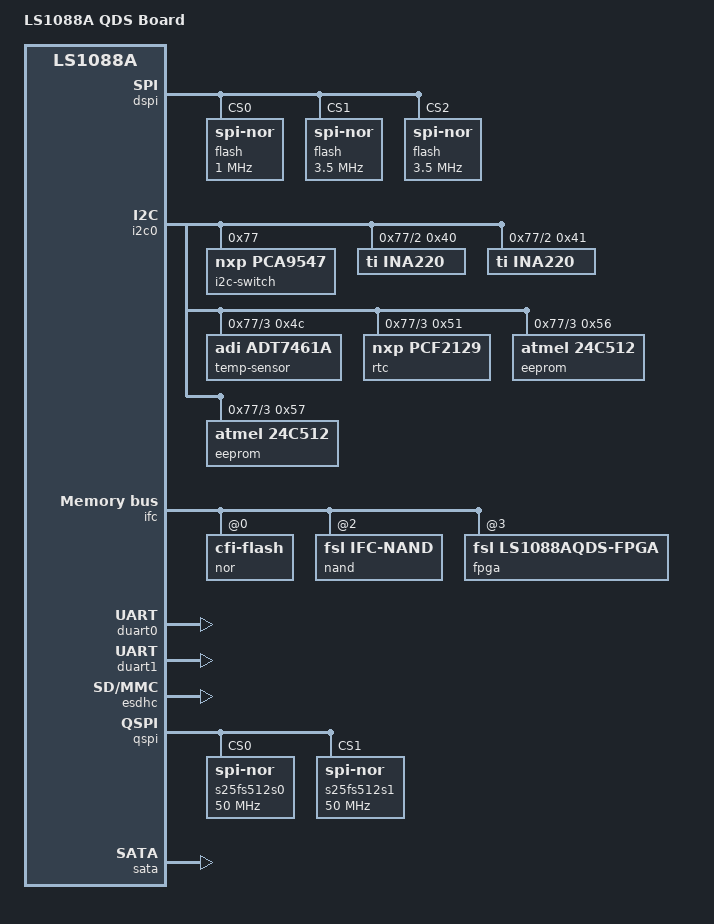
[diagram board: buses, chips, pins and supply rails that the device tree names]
// SPDX-License-Identifier: (GPL-2.0+ OR MIT)
/*
 * Device Tree file for NXP LS1088A QDS Board.
 *
 * Copyright 2017 NXP
 *
 * Harninder Rai <harninder.rai@nxp.com>
 *
 */

/dts-v1/;

#include "fsl-ls1088a.dtsi"

/ {
	model = "LS1088A QDS Board";
	compatible = "fsl,ls1088a-qds", "fsl,ls1088a";
};

&dspi {
	bus-num = <0>;
	status = "okay";

	flash@0 {
		#address-cells = <1>;
		#size-cells = <1>;
		compatible = "jedec,spi-nor";
		reg = <0>;
		spi-max-frequency = <1000000>;
	};

	flash@1 {
		#address-cells = <1>;
		#size-cells = <1>;
		compatible = "jedec,spi-nor";
		spi-cpol;
		spi-cpha;
		spi-max-frequency = <3500000>;
		reg = <1>;
	};

	flash@2 {
		#address-cells = <1>;
		#size-cells = <1>;
		compatible = "jedec,spi-nor";
		spi-cpol;
		spi-cpha;
		spi-max-frequency = <3500000>;
		reg = <2>;
	};
};

&i2c0 {
	status = "okay";

	i2c-switch@77 {
		compatible = "nxp,pca9547";
		reg = <0x77>;
		#address-cells = <1>;
		#size-cells = <0>;

		i2c@2 {
			#address-cells = <1>;
			#size-cells = <0>;
			reg = <0x2>;

			ina220@40 {
				compatible = "ti,ina220";
				reg = <0x40>;
				shunt-resistor = <1000>;
			};

			ina220@41 {
				compatible = "ti,ina220";
				reg = <0x41>;
				shunt-resistor = <1000>;
			};
		};

		i2c@3 {
			#address-cells = <1>;
			#size-cells = <0>;
			reg = <0x3>;

			temp-sensor@4c {
				compatible = "adi,adt7461a";
				reg = <0x4c>;
			};

			rtc@51 {
				compatible = "nxp,pcf2129";
				reg = <0x51>;
				/* IRQ10_B */
				interrupts = <0 150 IRQ_TYPE_LEVEL_HIGH>;
			};

			eeprom@56 {
				compatible = "atmel,24c512";
				reg = <0x56>;
			};

			eeprom@57 {
				compatible = "atmel,24c512";
				reg = <0x57>;
			};
		};
	};
};

&ifc {
	ranges = <0 0 0x5 0x80000000 0x08000000
		  2 0 0x5 0x30000000 0x00010000
		  3 0 0x5 0x20000000 0x00010000>;
	status = "okay";

	nor@0,0 {
		compatible = "cfi-flash";
		reg = <0x0 0x0 0x8000000>;
		bank-width = <2>;
		device-width = <1>;
	};

	nand@2,0 {
		compatible = "fsl,ifc-nand";
		reg = <0x2 0x0 0x10000>;
	};

	fpga: board-control@3,0 {
		compatible = "fsl,ls1088aqds-fpga", "fsl,fpga-qixis";
		reg = <0x3 0x0 0x0000100>;
	};
};

&duart0 {
	status = "okay";
};

&duart1 {
	status = "okay";
};

&esdhc {
	status = "okay";
};

&qspi {
	status = "okay";

	s25fs512s0: flash@0 {
		compatible = "jedec,spi-nor";
		#address-cells = <1>;
		#size-cells = <1>;
		spi-max-frequency = <50000000>;
		spi-rx-bus-width = <4>;
		spi-tx-bus-width = <1>;
		reg = <0>;
	};

	s25fs512s1: flash@1 {
		compatible = "jedec,spi-nor";
		#address-cells = <1>;
		#size-cells = <1>;
		spi-max-frequency = <50000000>;
		spi-rx-bus-width = <4>;
		spi-tx-bus-width = <1>;
		reg = <1>;
	};
};

&sata {
	status = "okay";
};
